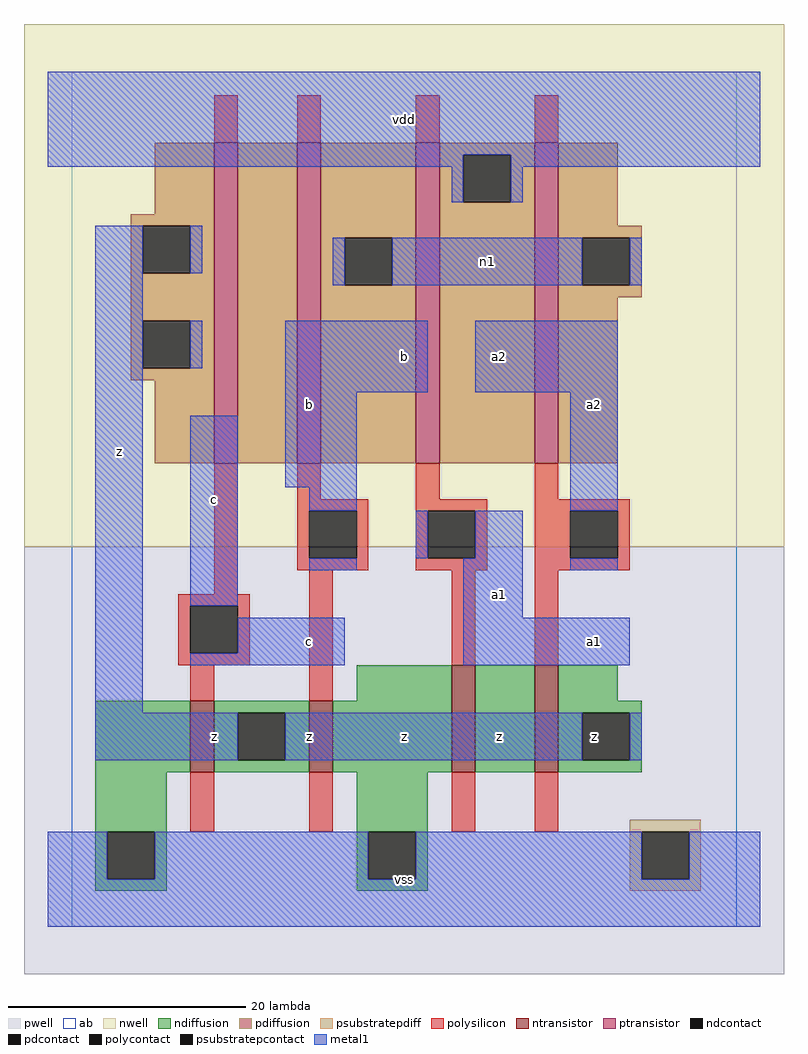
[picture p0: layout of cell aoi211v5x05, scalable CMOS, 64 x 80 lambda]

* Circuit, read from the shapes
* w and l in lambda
.subckt aoi211v5x05 a1 a2 b c n1 vdd vss z
M1 z c vss vss nfet w=6 l=2
M2 vss b z vss nfet w=6 l=2
M3 n2 a1 vss vss nfet w=9 l=2
M4 z a2 n2 vss nfet w=9 l=2
M5 n3 c z n4 pfet w=27 l=2
M6 n1 b n3 n4 pfet w=27 l=2
M7 vdd a1 n1 n4 pfet w=27 l=2
M8 n1 a2 vdd n4 pfet w=27 l=2
.ends

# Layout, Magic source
magic
tech scmos
<< ab >>
rect 0 0 56 72
<< pwell >>
rect -4 -4 60 32
<< nwell >>
rect -4 32 60 76
<< polysilicon >>
rect 12 66 14 70
rect 19 66 21 70
rect 29 66 31 70
rect 39 66 41 70
rect 12 28 14 39
rect 19 36 21 39
rect 29 36 31 39
rect 39 36 41 39
rect 19 35 25 36
rect 19 31 20 35
rect 24 31 25 35
rect 19 30 25 31
rect 29 35 35 36
rect 29 31 30 35
rect 34 31 35 35
rect 29 30 35 31
rect 39 35 47 36
rect 39 31 42 35
rect 46 31 47 35
rect 39 30 47 31
rect 9 27 15 28
rect 9 23 10 27
rect 14 23 15 27
rect 9 22 15 23
rect 10 19 12 22
rect 20 19 22 30
rect 32 22 34 30
rect 39 22 41 30
rect 10 8 12 13
rect 20 8 22 13
rect 32 8 34 13
rect 39 8 41 13
<< ndiffusion >>
rect 24 19 32 22
rect 2 13 10 19
rect 12 18 20 19
rect 12 14 14 18
rect 18 14 20 18
rect 12 13 20 14
rect 22 13 32 19
rect 34 13 39 22
rect 41 19 46 22
rect 41 18 48 19
rect 41 14 43 18
rect 47 14 48 18
rect 41 13 48 14
rect 2 8 8 13
rect 24 8 30 13
rect 2 4 3 8
rect 7 4 8 8
rect 2 3 8 4
rect 24 4 25 8
rect 29 4 30 8
rect 24 3 30 4
<< pdiffusion >>
rect 7 60 12 66
rect 5 59 12 60
rect 5 55 6 59
rect 10 55 12 59
rect 5 51 12 55
rect 5 47 6 51
rect 10 47 12 51
rect 5 46 12 47
rect 7 39 12 46
rect 14 39 19 66
rect 21 58 29 66
rect 21 54 23 58
rect 27 54 29 58
rect 21 39 29 54
rect 31 65 39 66
rect 31 61 33 65
rect 37 61 39 65
rect 31 39 39 61
rect 41 59 46 66
rect 41 58 48 59
rect 41 54 43 58
rect 47 54 48 58
rect 41 53 48 54
rect 41 39 46 53
<< metal1 >>
rect -2 65 58 72
rect -2 64 33 65
rect 32 61 33 64
rect 37 64 58 65
rect 37 61 38 64
rect 2 18 6 59
rect 10 55 11 59
rect 22 54 23 58
rect 27 54 43 58
rect 47 54 48 58
rect 10 47 11 51
rect 18 45 30 51
rect 34 45 46 51
rect 10 27 14 43
rect 18 37 24 45
rect 20 35 24 37
rect 42 35 46 45
rect 29 31 30 35
rect 34 31 38 35
rect 20 30 24 31
rect 33 26 38 31
rect 42 30 46 31
rect 14 23 23 26
rect 10 22 23 23
rect 33 22 47 26
rect 2 14 14 18
rect 18 14 43 18
rect 47 14 48 18
rect -2 4 3 8
rect 7 4 25 8
rect 29 4 48 8
rect 52 4 58 8
rect -2 0 58 4
<< ntransistor >>
rect 10 13 12 19
rect 20 13 22 19
rect 32 13 34 22
rect 39 13 41 22
<< ptransistor >>
rect 12 39 14 66
rect 19 39 21 66
rect 29 39 31 66
rect 39 39 41 66
<< polycontact >>
rect 20 31 24 35
rect 30 31 34 35
rect 42 31 46 35
rect 10 23 14 27
<< ndcontact >>
rect 14 14 18 18
rect 43 14 47 18
rect 3 4 7 8
rect 25 4 29 8
<< pdcontact >>
rect 6 55 10 59
rect 6 47 10 51
rect 23 54 27 58
rect 33 61 37 65
rect 43 54 47 58
<< psubstratepcontact >>
rect 48 4 52 8
<< psubstratepdiff >>
rect 47 8 53 9
rect 47 4 48 8
rect 52 4 53 8
rect 47 3 53 4
<< labels >>
rlabel metal1 4 40 4 40 6 z
rlabel metal1 20 16 20 16 6 z
rlabel metal1 12 16 12 16 6 z
rlabel metal1 20 24 20 24 6 c
rlabel metal1 12 36 12 36 6 c
rlabel metal1 20 44 20 44 6 b
rlabel metal1 28 4 28 4 6 vss
rlabel metal1 36 16 36 16 6 z
rlabel metal1 28 16 28 16 6 z
rlabel metal1 36 28 36 28 6 a1
rlabel metal1 28 48 28 48 6 b
rlabel metal1 36 48 36 48 6 a2
rlabel metal1 28 68 28 68 6 vdd
rlabel ndcontact 44 16 44 16 6 z
rlabel metal1 44 24 44 24 6 a1
rlabel metal1 44 44 44 44 6 a2
rlabel metal1 35 56 35 56 6 n1
<< end >>
